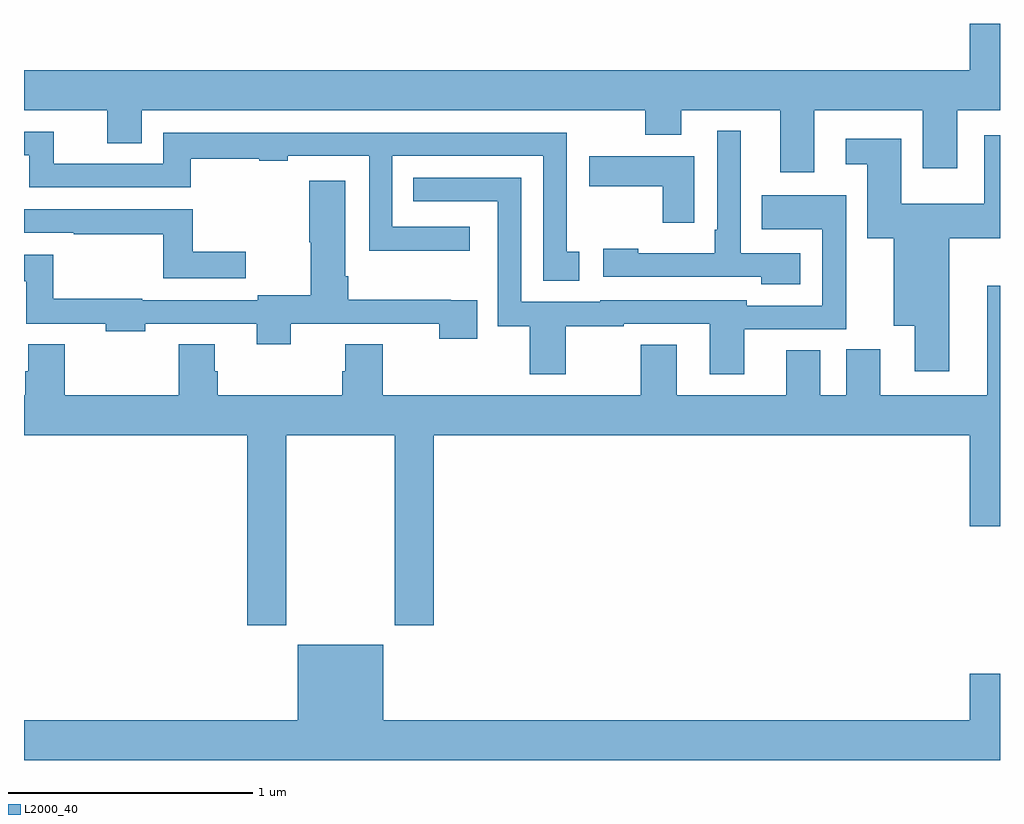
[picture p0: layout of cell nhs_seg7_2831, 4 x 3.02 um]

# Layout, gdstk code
import gdstk
lib = gdstk.Library(unit=1e-6, precision=1e-09)
def P(c, l, *ps):  # polygons
    for p in ps: c.add(gdstk.Polygon(p, *l))
L2000_40 = (2000, 40)

nhs_seg7_2831 = lib.new_cell('nhs_seg7_2831')
P(nhs_seg7_2831, L2000_40, [(296.239,1035.248),(296.684,1035.248),(296.684,1035.009),(296.824,1035.009),(296.824,1035.248),(297,1035.248),(297,1035.601),(296.876,1035.601),(296.876,1035.412),(293,1035.412),(293,1035.248),(293.342,1035.248),(293.342,1035.112),(293.482,1035.112),(293.482,1035.248),(295.546,1035.248),(295.546,1035.146),(295.693,1035.146),(295.693,1035.248),(296.099,1035.248),(296.099,1034.994),(296.239,1034.994)],
  [(296.182,1034.661),(295.938,1034.661),(295.938,1035.163),(295.842,1035.163),(295.842,1034.758),(295.83,1034.758),(295.83,1034.661),(295.518,1034.661),(295.518,1034.68),(295.374,1034.68),(295.374,1034.565),(296.021,1034.565),(296.021,1034.534),(296.182,1034.534)],
  [(295.276,1034.667),(295.224,1034.667),(295.224,1035.156),(293.571,1035.156),(293.571,1035.027),(293.121,1035.027),(293.121,1035.159),(293,1035.159),(293,1035.063),(293.022,1035.063),(293.022,1034.931),(293.683,1034.931),(293.683,1035.048),(293.964,1035.048),(293.964,1035.04),(294.08,1035.04),(294.08,1035.06),(294.414,1035.06),(294.414,1034.672),(294.826,1034.672),(294.826,1034.769),(294.51,1034.769),(294.51,1035.06),(295.128,1035.06),(295.128,1034.548),(295.276,1034.548)],
  [(296.791,1034.723),(297,1034.723),(297,1035.145),(296.936,1035.145),(296.936,1034.863),(296.596,1034.863),(296.596,1035.13),(296.367,1035.13),(296.367,1035.026),(296.456,1035.026),(296.456,1034.723),(296.564,1034.723),(296.564,1034.363),(296.651,1034.363),(296.651,1034.178),(296.791,1034.178)],
  [(295.747,1035.058),(295.317,1035.058),(295.317,1034.936),(295.618,1034.936),(295.618,1034.787),(295.747,1034.787)],
  [(295.951,1034.349),(296.369,1034.349),(296.369,1034.899),(296.023,1034.899),(296.023,1034.759),(296.271,1034.759),(296.271,1034.445),(295.962,1034.445),(295.962,1034.469),(295.362,1034.469),(295.362,1034.463),(295.038,1034.463),(295.038,1034.97),(294.595,1034.97),(294.595,1034.874),(294.942,1034.874),(294.942,1034.362),(295.073,1034.362),(295.073,1034.166),(295.221,1034.166),(295.221,1034.362),(295.458,1034.362),(295.458,1034.373),(295.811,1034.373),(295.811,1034.165),(295.951,1034.165)],
  [(294.094,1034.373),(294.701,1034.373),(294.701,1034.31),(294.857,1034.31),(294.857,1034.469),(294.749,1034.469),(294.749,1034.471),(294.329,1034.471),(294.329,1034.566),(294.316,1034.566),(294.316,1034.959),(294.169,1034.959),(294.169,1034.706),(294.176,1034.706),(294.176,1034.489),(293.958,1034.489),(293.958,1034.469),(293.484,1034.469),(293.484,1034.474),(293.119,1034.474),(293.119,1034.656),(293,1034.656),(293,1034.546),(293.009,1034.546),(293.009,1034.373),(293.336,1034.373),(293.336,1034.342),(293.496,1034.342),(293.496,1034.373),(293.954,1034.373),(293.954,1034.288),(294.094,1034.288)],
  [(293.908,1034.668),(293.692,1034.668),(293.692,1034.841),(293,1034.841),(293,1034.745),(293.203,1034.745),(293.203,1034.74),(293.571,1034.74),(293.571,1034.559),(293.908,1034.559)],
  [(294.075,1033.916),(294.52,1033.916),(294.52,1033.137),(294.68,1033.137),(294.68,1033.916),(296.876,1033.916),(296.876,1033.542),(297,1033.542),(297,1034.527),(296.948,1034.527),(296.948,1034.08),(296.509,1034.08),(296.509,1034.268),(296.369,1034.268),(296.369,1034.08),(296.263,1034.08),(296.263,1034.264),(296.123,1034.264),(296.123,1034.08),(295.675,1034.08),(295.675,1034.287),(295.528,1034.287),(295.528,1034.08),(294.47,1034.08),(294.47,1034.288),(294.317,1034.288),(294.317,1034.178),(294.305,1034.178),(294.305,1034.08),(293.795,1034.08),(293.795,1034.178),(293.782,1034.178),(293.782,1034.288),(293.635,1034.288),(293.635,1034.08),(293.166,1034.08),(293.166,1034.288),(293.018,1034.288),(293.018,1034.178),(293.006,1034.178),(293.006,1034.08),(293,1034.08),(293,1033.916),(293.915,1033.916),(293.915,1033.137),(294.075,1033.137)],
  [(297,1032.937),(296.876,1032.937),(296.876,1032.748),(294.472,1032.748),(294.472,1033.057),(294.122,1033.057),(294.122,1032.748),(293,1032.748),(293,1032.584),(297,1032.584)])

lib.write_gds('nhs_seg7_2831.gds')
